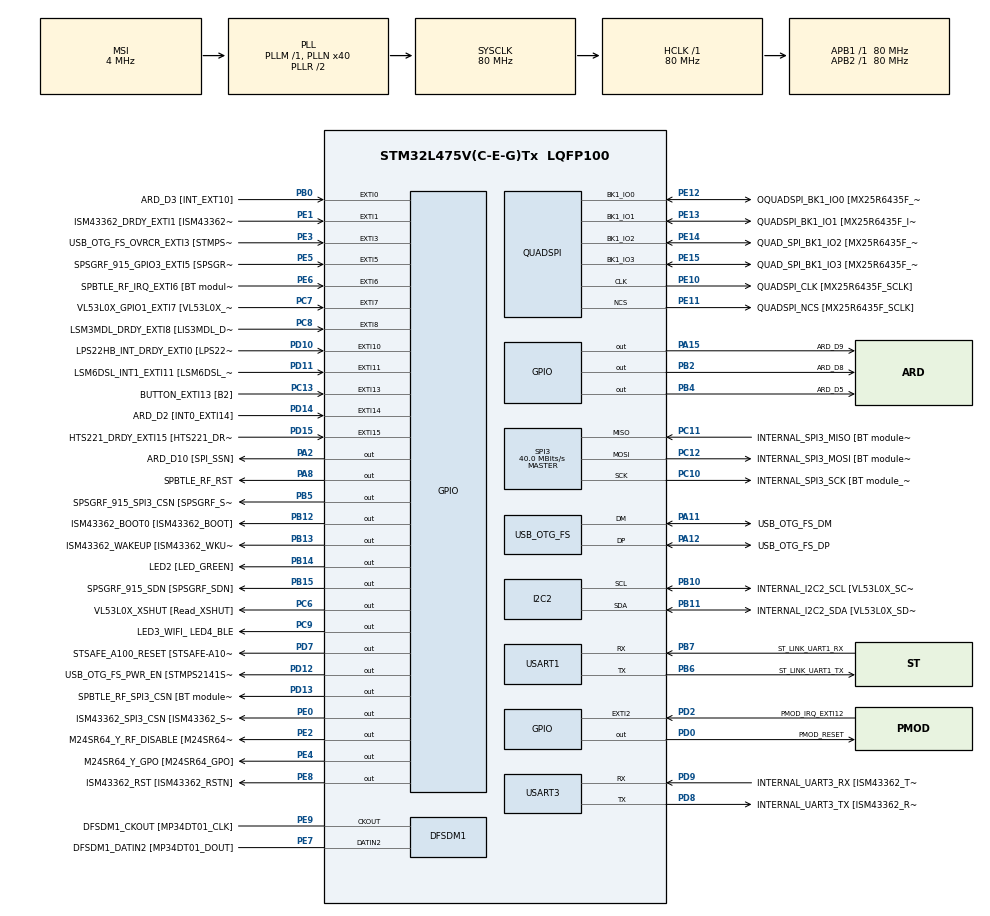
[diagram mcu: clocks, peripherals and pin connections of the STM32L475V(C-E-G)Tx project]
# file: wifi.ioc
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FREERTOS.Tasks01=defaultTask,32,256,StartDefaultTask,Default,NULL,Dynamic,NULL,NULL;wifiStart,24,512,wifiStartTask,Default,NULL,Dynamic,NULL,NULL
FREERTOS.configTOTAL_HEAP_SIZE=5000
FREERTOS.configUSE_NEWLIB_REENTRANT=1
I2C2.Timing=0x10909CEC
Mcu.Family=STM32L4
Mcu.Name=STM32L475V(C-E-G)Tx
Mcu.Package=LQFP100
NVIC.EXTI15_10_IRQn=true\:5\:0\:false\:false\:true\:true\:true\:true\:true
NVIC.EXTI1_IRQn=true\:5\:0\:false\:false\:true\:false\:true\:true\:true
NVIC.EXTI9_5_IRQn=true\:5\:0\:false\:false\:true\:true\:true\:true\:true
NVIC.PriorityGroup=NVIC_PRIORITYGROUP_4
NVIC.SPI3_IRQn=true\:5\:0\:false\:false\:false\:false\:true\:true\:true
NVIC.TIM6_DAC_IRQn=true\:15\:0\:false\:false\:true\:false\:false\:true\:true
NVIC.TimeBase=TIM6_DAC_IRQn
NVIC.TimeBaseIP=TIM6
PA0.GPIO_Label=ARD_D1 [UART4_TX]
PA0.Signal=UART4_TX
PA1.GPIO_Label=ARD_D0 [UART4_RX]
PA1.Signal=UART4_RX
PA10.GPIO_Label=USB_OTG_FS_ID
PA10.Signal=USB_OTG_FS_ID
PA11.GPIO_Label=USB_OTG_FS_DM
PA11.Mode=Device_Only
PA11.Signal=USB_OTG_FS_DM
PA12.GPIO_Label=USB_OTG_FS_DP
PA12.Mode=Device_Only
PA12.Signal=USB_OTG_FS_DP
PA13\ (JTMS-SWDIO).GPIO_Label=SYS_JTMS_SWDIO
PA13\ (JTMS-SWDIO).Mode=Trace_Asynchronous_SW
PA13\ (JTMS-SWDIO).Signal=SYS_JTMS-SWDIO
PA14\ (JTCK-SWCLK).GPIO_Label=SYS_JTCK_SWCLK
PA14\ (JTCK-SWCLK).Mode=Trace_Asynchronous_SW
PA14\ (JTCK-SWCLK).Signal=SYS_JTCK-SWCLK
PA15\ (JTDI).GPIO_Label=ARD_D9
PA15\ (JTDI).Signal=GPIO_Output
PA2.GPIO_Label=ARD_D10 [SPI_SSN]
PA2.Signal=GPIO_Output
PA3.GPIO_Label=ARD_D4
PA3.Signal=S_TIM2_CH4
PA4.GPIO_Label=ARD_D7
PA4.Signal=ADCx_IN9
PA5.GPIO_Label=ARD_D13 [SPI1_SCK]
PA5.Signal=SPI1_SCK
PA6.GPIO_Label=ARD_D12 [SPI1_MISO]
PA6.Signal=SPI1_MISO
PA7.GPIO_Label=ARD_D11 [SPI1_MOSI]
PA7.Signal=SPI1_MOSI
PA8.GPIO_Label=SPBTLE_RF_RST
PA8.Signal=GPIO_Output
PA9.GPIO_Label=USB_OTG_FS_VBUS [STMPS2141STR_OUT]
PA9.Signal=USB_OTG_FS_VBUS
PB0.GPIO_Label=ARD_D3 [INT_EXT10]
PB0.Signal=GPXTI0
PB1.GPIO_Label=ARD_D6 [ADC1_IN6]
PB1.Signal=ADCx_IN16
PB10.GPIO_Label=INTERNAL_I2C2_SCL [VL53L0X_SCL]
PB10.GPIO_Pu=GPIO_PULLUP
PB10.Mode=I2C
PB10.Signal=I2C2_SCL
PB11.GPIO_Label=INTERNAL_I2C2_SDA [VL53L0X_SDA]
PB11.GPIO_Pu=GPIO_PULLUP
PB11.Mode=I2C
PB11.Signal=I2C2_SDA
PB12.GPIO_Label=ISM43362_BOOT0 [ISM43362_BOOT]
PB12.Signal=GPIO_Output
PB13.GPIO_Label=ISM43362_WAKEUP [ISM43362_WKUP]
PB13.Signal=GPIO_Output
PB14.GPIO_Label=LED2 [LED_GREEN]
PB14.Signal=GPIO_Output
PB15.GPIO_Label=SPSGRF_915_SDN [SPSGRF_SDN]
PB15.Signal=GPIO_Output
PB2.GPIO_Label=ARD_D8
PB2.Signal=GPIO_Output
PB3\ (JTDO-TRACESWO).GPIO_Label=SYS_JTD0_SWO
PB3\ (JTDO-TRACESWO).Mode=Trace_Asynchronous_SW
PB3\ (JTDO-TRACESWO).Signal=SYS_JTDO-SWO
PB4\ (NJTRST).GPIO_Label=ARD_D5
PB4\ (NJTRST).Signal=GPIO_Output
PB5.GPIO_Label=SPSGRF_915_SPI3_CSN [SPSGRF_SPI_CS]
PB5.PinState=GPIO_PIN_SET
PB5.Signal=GPIO_Output
PB6.GPIO_Label=ST_LINK_UART1_TX
PB6.Mode=Asynchronous
PB6.Signal=USART1_TX
PB7.GPIO_Label=ST_LINK_UART1_RX
PB7.Mode=Asynchronous
PB7.Signal=USART1_RX
PB8.GPIO_Label=ARD_D15 [I2C1_SCL]
PB8.Signal=I2C1_SCL
PB9.GPIO_Label=ARD_D14 [I2C1_SDA]
PB9.Signal=I2C1_SDA
PC0.GPIO_Label=ARD_A5 [ADC]
PC0.Signal=ADCx_IN1
PC1.GPIO_Label=ARD_A4 [ADC]
PC1.Signal=ADCx_IN2
PC10.GPIO_Label=INTERNAL_SPI3_SCK [BT module_SPI_SCLK] [ISM43362_SCK]
PC10.Mode=Full_Duplex_Master
PC10.Signal=SPI3_SCK
PC11.GPIO_Label=INTERNAL_SPI3_MISO [BT module_SPI_MISO] [ISM43362_MISO]
PC11.Mode=Full_Duplex_Master
PC11.Signal=SPI3_MISO
PC12.GPIO_Label=INTERNAL_SPI3_MOSI [BT module_SPI_MOSI] [ISM43362_MOSI]
PC12.Mode=Full_Duplex_Master
PC12.Signal=SPI3_MOSI
PC13.GPIO_Label=BUTTON_EXTI13 [B2]
PC13.GPIO_ModeDefaultEXTI=GPIO_MODE_IT_FALLING
PC13.Signal=GPXTI13
PC14-OSC32_IN\ (PC14).Mode=LSE-External-Oscillator
PC14-OSC32_IN\ (PC14).Signal=RCC_OSC32_IN
PC15-OSC32_OUT\ (PC15).Mode=LSE-External-Oscillator
PC15-OSC32_OUT\ (PC15).Signal=RCC_OSC32_OUT
PC2.GPIO_Label=ARD_A3 [ADC]
PC2.Signal=ADCx_IN3
PC3.GPIO_Label=ARD_A2 [ADC]
PC3.Signal=ADCx_IN4
PC4.GPIO_Label=ARD_A1 [ADC]
PC4.Signal=ADCx_IN13
PC5.GPIO_Label=ARD_A0 [ADC]
PC5.Signal=ADCx_IN14
PC6.GPIO_Label=VL53L0X_XSHUT [Read_XSHUT]
PC6.Signal=GPIO_Output
PC7.GPIO_Label=VL53L0X_GPIO1_EXTI7 [VL53L0X_GPIO1]
PC7.Signal=GPXTI7
PC8.GPIO_Label=LSM3MDL_DRDY_EXTI8 [LIS3MDL_DRDY]
PC8.Signal=GPXTI8
PC9.GPIO_Label=LED3_WIFI_ LED4_BLE
PC9.Signal=GPIO_Output
PD0.GPIO_Label=PMOD_RESET
PD0.Signal=GPIO_Output
PD1.GPIO_Label=PMOD_SPI2_SCK
PD1.Signal=SPI2_SCK
PD10.GPIO_Label=LPS22HB_INT_DRDY_EXTI0 [LPS22HB_INT_DRDY] 
PD10.Signal=GPXTI10
PD11.GPIO_Label=LSM6DSL_INT1_EXTI11 [LSM6DSL_INT1]
PD11.Signal=GPXTI11
PD12.GPIO_Label=USB_OTG_FS_PWR_EN [STMPS2141STR_EN]
PD12.Signal=GPIO_Output
PD13.GPIO_Label=SPBTLE_RF_SPI3_CSN [BT module_SPI_CS]
PD13.PinState=GPIO_PIN_SET
PD13.Signal=GPIO_Output
PD14.GPIO_Label=ARD_D2 [INT0_EXTI14]
PD14.Signal=GPXTI14
PD15.GPIO_Label=HTS221_DRDY_EXTI15 [HTS221_DRDY]
PD15.Signal=GPXTI15
PD2.GPIO_Label=PMOD_IRQ_EXTI12
PD2.Signal=GPXTI2
PD3.GPIO_Label=PMOD_UART2_CTS
PD3.Signal=USART2_CTS
PD4.GPIO_Label=PMOD_UART2_RTS
PD4.Signal=USART2_RTS
PD5.GPIO_Label=PMOD_UART2_TX
PD5.Signal=USART2_TX
PD6.GPIO_Label=PMOD_UART2_RX
PD6.Signal=USART2_RX
PD7.GPIO_Label=STSAFE_A100_RESET [STSAFE-A100_RESET]
PD7.Signal=GPIO_Output
PD8.GPIO_Label=INTERNAL_UART3_TX [ISM43362_RX]
PD8.Mode=Asynchronous
PD8.Signal=USART3_TX
PD9.GPIO_Label=INTERNAL_UART3_RX [ISM43362_TX]
PD9.Mode=Asynchronous
PD9.Signal=USART3_RX
PE0.GPIO_Label=ISM43362_SPI3_CSN [ISM43362_SSN]
PE0.PinState=GPIO_PIN_SET
PE0.Signal=GPIO_Output
PE1.GPIO_Label=ISM43362_DRDY_EXTI1 [ISM43362_DATARDY]
PE1.Signal=GPXTI1
PE10.GPIO_Label=QUADSPI_CLK [MX25R6435F_SCLK]
PE10.Mode=Single Bank
PE10.Signal=QUADSPI_CLK
PE11.GPIO_Label=QUADSPI_NCS [MX25R6435F_SCLK]
PE11.Mode=Single Bank
PE11.Signal=QUADSPI_NCS
PE12.GPIO_Label=OQUADSPI_BK1_IO0 [MX25R6435F_IO0]
PE12.Mode=Single Bank
PE12.Signal=QUADSPI_BK1_IO0
PE13.GPIO_Label=QUADSPI_BK1_IO1 [MX25R6435F_IO1]
PE13.Mode=Single Bank
PE13.Signal=QUADSPI_BK1_IO1
PE14.GPIO_Label=QUAD_SPI_BK1_IO2 [MX25R6435F_IO2]
PE14.Mode=Single Bank
PE14.Signal=QUADSPI_BK1_IO2
PE15.GPIO_Label=QUAD_SPI_BK1_IO3 [MX25R6435F_IO3]
PE15.Mode=Single Bank
PE15.Signal=QUADSPI_BK1_IO3
PE2.GPIO_Label=M24SR64_Y_RF_DISABLE [M24SR64_RFDIS]
PE2.Signal=GPIO_Output
PE3.GPIO_Label=USB_OTG_FS_OVRCR_EXTI3 [STMPS2141STR_FAULT]
PE3.Signal=GPXTI3
PE4.GPIO_Label=M24SR64_Y_GPO [M24SR64_GPO]
PE4.Signal=GPIO_Output
PE5.GPIO_Label=SPSGRF_915_GPIO3_EXTI5 [SPSGRF_GPIO_3]
PE5.Signal=GPXTI5
PE6.GPIO_Label=SPBTLE_RF_IRQ_EXTI6 [BT module_SPI_IRQ]
PE6.Signal=GPXTI6
PE7.GPIO_Label=DFSDM1_DATIN2 [MP34DT01_DOUT]
PE7.Signal=S_DATAIN2DFSDM1
PE8.GPIO_Label=ISM43362_RST [ISM43362_RSTN]
PE8.Signal=GPIO_Output
PE9.GPIO_Label=DFSDM1_CKOUT [MP34DT01_CLK]
PE9.Signal=S_CKOUTDFSDM1
ProjectManager.HeapSize=0x200
ProjectManager.StackSize=0x400
ProjectManager.TargetToolchain=STM32CubeIDE
QUADSPI.ClockPrescaler=2
QUADSPI.FifoThreshold=4
QUADSPI.FlashSize=23
QUADSPI.SampleShifting=QSPI_SAMPLE_SHIFTING_HALFCYCLE
RCC.ADCFreq_Value=48000000
RCC.AHBFreq_Value=80000000
RCC.APB1Freq_Value=80000000
RCC.APB1TimFreq_Value=80000000
RCC.APB2Freq_Value=80000000
RCC.APB2TimFreq_Value=80000000
RCC.CortexFreq_Value=80000000
RCC.HCLKFreq_Value=80000000
RCC.HSE_VALUE=8000000
RCC.HSI_VALUE=16000000
RCC.MSI_VALUE=4000000
RCC.PLLN=40
RCC.PLLSAI1N=24
RCC.SYSCLKFreq_VALUE=80000000
RCC.SYSCLKSource=RCC_SYSCLKSOURCE_PLLCLK
RCC.USBFreq_Value=48000000
RCC.VCOOutputFreq_Value=160000000
SH.ADCx_IN1.0=ADC1_IN1
SH.ADCx_IN13.0=ADC1_IN13
SH.ADCx_IN14.0=ADC1_IN14
SH.ADCx_IN16.0=ADC1_IN16
SH.ADCx_IN2.0=ADC1_IN2
SH.ADCx_IN3.0=ADC1_IN3
SH.ADCx_IN4.0=ADC1_IN4
SH.ADCx_IN9.0=ADC1_IN9
SH.S_CKOUTDFSDM1.0=DFSDM1_CKOUT,CKOUT
SH.S_CKOUTDFSDM1.1=DFSDM1_CKOUT,PDM_SPI_Input_from_ch12_and_Internal_Clock
SH.S_DATAIN2DFSDM1.0=DFSDM1_DATIN2,PDM_SPI_Input_from_ch12_and_Internal_Clock
SH.S_TIM2_CH4.0=TIM2_CH4
SPI3.CalculateBaudRate=40.0 MBits/s
SPI3.Direction=SPI_DIRECTION_2LINES
SPI3.Mode=SPI_MODE_MASTER
SPI3.VirtualType=VM_MASTER
USART1.VirtualMode-Asynchronous=VM_ASYNC
USART3.VirtualMode-Asynchronous=VM_ASYNC
USB_OTG_FS.VirtualMode=Device_Only
VP_FREERTOS_VS_CMSIS_V2.Mode=CMSIS_V2
VP_SYS_VS_tim6.Mode=TIM6
board=B-L475E-IOT01A2

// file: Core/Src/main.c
/* USER CODE BEGIN Header */
/**
  ******************************************************************************
  * @file           : main.c
  * @brief          : Main program body
  ******************************************************************************
  * @attention
  *
  * Copyright (c) 2023 STMicroelectronics.
  * All rights reserved.
  *
  * This software is licensed under terms that can be found in the LICENSE file
  * in the root directory of this software component.
  * If no LICENSE file comes with this software, it is provided AS-IS.
  *
  ******************************************************************************
  */
/* USER CODE END Header */
#include "main.h"
#include "cmsis_os.h"

/* USER CODE BEGIN Includes */
#include <stdio.h>
#include <math.h>

#include "es_wifi.h"
#include "wifi.h"
#include "stm32l4xx_hal_uart.h"
//#include "stm32l475e_iot01.h"
//#include "stm32l475e_iot01_tsensor.h"
/* USER CODE END Includes */

/* USER CODE BEGIN PM */
/* Update SSID and PASSWORD with own Access point settings */
#define SSID     "Antonio"
#define PASSWORD "Antonio_psswrd"
//#define WIFISECURITY WIFI_ECN_OPEN
#define WIFISECURITY WIFI_ECN_WPA2_PSK

#define SOCKET 0
#define WIFI_READ_TIMEOUT 20000
#define WIFI_WRITE_TIMEOUT 0

#ifdef  TERMINAL_USE
#define LOG(a) printf a
#else
#define LOG(a)
#endif

/* USER CODE END PM */

DFSDM_Channel_HandleTypeDef hdfsdm1_channel1;

I2C_HandleTypeDef hi2c2;

QSPI_HandleTypeDef hqspi;

SPI_HandleTypeDef hspi3;

UART_HandleTypeDef huart1;
UART_HandleTypeDef huart3;

PCD_HandleTypeDef hpcd_USB_OTG_FS;

/* Definitions for defaultTask */
osThreadId_t defaultTaskHandle;
const osThreadAttr_t defaultTask_attributes = {
  .name = "defaultTask",
  .stack_size = 256 * 4,
  .priority = (osPriority_t) osPriorityAboveNormal,
};
/* Definitions for wifiStart */
osThreadId_t wifiStartHandle;
const osThreadAttr_t wifiStart_attributes = {
  .name = "wifiStart",
  .stack_size = 512 * 4,
  .priority = (osPriority_t) osPriorityNormal,
};
/* USER CODE BEGIN PV */
extern  SPI_HandleTypeDef hspi;
static  uint8_t  IP_Addr[4];
#if defined (TERMINAL_USE)
extern UART_HandleTypeDef hDiscoUart;
#endif /* TERMINAL_USE */
/* USER CODE END PV */

void SystemClock_Config(void);
static void MX_GPIO_Init(void);
static void MX_DFSDM1_Init(void);
static void MX_I2C2_Init(void);
static void MX_QUADSPI_Init(void);
static void MX_SPI3_Init(void);
static void MX_USART1_UART_Init(void);
static void MX_USART3_UART_Init(void);
static void MX_USB_OTG_FS_PCD_Init(void);
void StartDefaultTask(void *argument);
void wifiStartTask(void *argument);

/* USER CODE BEGIN PFP */
#if defined (TERMINAL_USE)
#ifdef __GNUC__
/* With GCC, small printf (option LD Linker->Libraries->Small printf
   set to 'Yes') calls __io_putchar() */
#define PUTCHAR_PROTOTYPE int __io_putchar(int ch)
#else
#define PUTCHAR_PROTOTYPE int fputc(int ch, FILE *f)
#endif /* __GNUC__ */
#endif /* TERMINAL_USE */
/* USER CODE END PFP */

int main(void)
{

  /* MCU Configuration--------------------------------------------------------*/

  /* Reset of all peripherals, Initializes the Flash interface and the Systick. */
  HAL_Init();

  /* Configure the system clock */
  SystemClock_Config();

  /* Initialize all configured peripherals */
  MX_GPIO_Init();
  MX_DFSDM1_Init();
  MX_I2C2_Init();
  MX_QUADSPI_Init();
  MX_SPI3_Init();
  MX_USART1_UART_Init();
  MX_USART3_UART_Init();
  MX_USB_OTG_FS_PCD_Init();
  /* USER CODE BEGIN 2 */
	#if defined (TERMINAL_USE)
  	  /* Initialize all configured peripherals */
  	  hDiscoUart.Instance = DISCOVERY_COM1;
  	  hDiscoUart.Init.BaudRate = 115200;
  	  hDiscoUart.Init.WordLength = UART_WORDLENGTH_8B;
  	  hDiscoUart.Init.StopBits = UART_STOPBITS_1;
	  hDiscoUart.Init.Parity = UART_PARITY_NONE;
	  hDiscoUart.Init.Mode = UART_MODE_TX_RX;
	  hDiscoUart.Init.HwFlowCtl = UART_HWCONTROL_NONE;
	  hDiscoUart.Init.OverSampling = UART_OVERSAMPLING_16;
	  hDiscoUart.Init.OneBitSampling = UART_ONE_BIT_SAMPLE_DISABLE;
	  hDiscoUart.AdvancedInit.AdvFeatureInit = UART_ADVFEATURE_NO_INIT;

	  BSP_COM_Init(COM1, &hDiscoUart);

	#endif /* TERMINAL_USE */

	//BSP_TSENSOR_Init();

	printf("****** Sistemas Ciberfisicos ****** \n\n");

  /* USER CODE END 2 */

  /* Init scheduler */
  osKernelInitialize();

  /* Create the thread(s) */
  /* creation of defaultTask */
  defaultTaskHandle = osThreadNew(StartDefaultTask, NULL, &defaultTask_attributes);

  /* creation of wifiStart */
  wifiStartHandle = osThreadNew(wifiStartTask, NULL, &wifiStart_attributes);

  /* Start scheduler */
  osKernelStart();

  /* We should never get here as control is now taken by the scheduler */
  /* Infinite loop */
  while (1)
  {

  }
}

void SystemClock_Config(void)
{
  RCC_OscInitTypeDef RCC_OscInitStruct = {0};
  RCC_ClkInitTypeDef RCC_ClkInitStruct = {0};

  /** Configure the main internal regulator output voltage
  */
  if (HAL_PWREx_ControlVoltageScaling(PWR_REGULATOR_VOLTAGE_SCALE1) != HAL_OK)
  {
    Error_Handler();
  }

  /** Configure LSE Drive Capability
  */
  HAL_PWR_EnableBkUpAccess();
  __HAL_RCC_LSEDRIVE_CONFIG(RCC_LSEDRIVE_LOW);

  /** Initializes the RCC Oscillators according to the specified parameters
  * in the RCC_OscInitTypeDef structure.
  */
  RCC_OscInitStruct.OscillatorType = RCC_OSCILLATORTYPE_LSE|RCC_OSCILLATORTYPE_MSI;
  RCC_OscInitStruct.LSEState = RCC_LSE_ON;
  RCC_OscInitStruct.MSIState = RCC_MSI_ON;
  RCC_OscInitStruct.MSICalibrationValue = 0;
  RCC_OscInitStruct.MSIClockRange = RCC_MSIRANGE_6;
  RCC_OscInitStruct.PLL.PLLState = RCC_PLL_ON;
  RCC_OscInitStruct.PLL.PLLSource = RCC_PLLSOURCE_MSI;
  RCC_OscInitStruct.PLL.PLLM = 1;
  RCC_OscInitStruct.PLL.PLLN = 40;
  RCC_OscInitStruct.PLL.PLLP = RCC_PLLP_DIV7;
  RCC_OscInitStruct.PLL.PLLQ = RCC_PLLQ_DIV2;
  RCC_OscInitStruct.PLL.PLLR = RCC_PLLR_DIV2;
  if (HAL_RCC_OscConfig(&RCC_OscInitStruct) != HAL_OK)
  {
    Error_Handler();
  }

  /** Initializes the CPU, AHB and APB buses clocks
  */
  RCC_ClkInitStruct.ClockType = RCC_CLOCKTYPE_HCLK|RCC_CLOCKTYPE_SYSCLK
                              |RCC_CLOCKTYPE_PCLK1|RCC_CLOCKTYPE_PCLK2;
  RCC_ClkInitStruct.SYSCLKSource = RCC_SYSCLKSOURCE_PLLCLK;
  RCC_ClkInitStruct.AHBCLKDivider = RCC_SYSCLK_DIV1;
  RCC_ClkInitStruct.APB1CLKDivider = RCC_HCLK_DIV1;
  RCC_ClkInitStruct.APB2CLKDivider = RCC_HCLK_DIV1;

  if (HAL_RCC_ClockConfig(&RCC_ClkInitStruct, FLASH_LATENCY_4) != HAL_OK)
  {
    Error_Handler();
  }

  /** Enable MSI Auto calibration
  */
  HAL_RCCEx_EnableMSIPLLMode();
}

static void MX_DFSDM1_Init(void)
{

  hdfsdm1_channel1.Instance = DFSDM1_Channel1;
  hdfsdm1_channel1.Init.OutputClock.Activation = ENABLE;
  hdfsdm1_channel1.Init.OutputClock.Selection = DFSDM_CHANNEL_OUTPUT_CLOCK_SYSTEM;
  hdfsdm1_channel1.Init.OutputClock.Divider = 2;
  hdfsdm1_channel1.Init.Input.Multiplexer = DFSDM_CHANNEL_EXTERNAL_INPUTS;
  hdfsdm1_channel1.Init.Input.DataPacking = DFSDM_CHANNEL_STANDARD_MODE;
  hdfsdm1_channel1.Init.Input.Pins = DFSDM_CHANNEL_FOLLOWING_CHANNEL_PINS;
  hdfsdm1_channel1.Init.SerialInterface.Type = DFSDM_CHANNEL_SPI_RISING;
  hdfsdm1_channel1.Init.SerialInterface.SpiClock = DFSDM_CHANNEL_SPI_CLOCK_INTERNAL;
  hdfsdm1_channel1.Init.Awd.FilterOrder = DFSDM_CHANNEL_FASTSINC_ORDER;
  hdfsdm1_channel1.Init.Awd.Oversampling = 1;
  hdfsdm1_channel1.Init.Offset = 0;
  hdfsdm1_channel1.Init.RightBitShift = 0x00;
  if (HAL_DFSDM_ChannelInit(&hdfsdm1_channel1) != HAL_OK)
  {
    Error_Handler();
  }

}

static void MX_I2C2_Init(void)
{

  hi2c2.Instance = I2C2;
  hi2c2.Init.Timing = 0x00000E14;
  hi2c2.Init.OwnAddress1 = 0;
  hi2c2.Init.AddressingMode = I2C_ADDRESSINGMODE_7BIT;
  hi2c2.Init.DualAddressMode = I2C_DUALADDRESS_DISABLE;
  hi2c2.Init.OwnAddress2 = 0;
  hi2c2.Init.OwnAddress2Masks = I2C_OA2_NOMASK;
  hi2c2.Init.GeneralCallMode = I2C_GENERALCALL_DISABLE;
  hi2c2.Init.NoStretchMode = I2C_NOSTRETCH_DISABLE;
  if (HAL_I2C_Init(&hi2c2) != HAL_OK)
  {
    Error_Handler();
  }

  /** Configure Analogue filter
  */
  if (HAL_I2CEx_ConfigAnalogFilter(&hi2c2, I2C_ANALOGFILTER_ENABLE) != HAL_OK)
  {
    Error_Handler();
  }

  /** Configure Digital filter
  */
  if (HAL_I2CEx_ConfigDigitalFilter(&hi2c2, 0) != HAL_OK)
  {
    Error_Handler();
  }

}

static void MX_QUADSPI_Init(void)
{

  /* QUADSPI parameter configuration*/
  hqspi.Instance = QUADSPI;
  hqspi.Init.ClockPrescaler = 2;
  hqspi.Init.FifoThreshold = 4;
  hqspi.Init.SampleShifting = QSPI_SAMPLE_SHIFTING_HALFCYCLE;
  hqspi.Init.FlashSize = 23;
  hqspi.Init.ChipSelectHighTime = QSPI_CS_HIGH_TIME_1_CYCLE;
  hqspi.Init.ClockMode = QSPI_CLOCK_MODE_0;
  if (HAL_QSPI_Init(&hqspi) != HAL_OK)
  {
    Error_Handler();
  }

}

static void MX_SPI3_Init(void)
{

  /* SPI3 parameter configuration*/
  hspi3.Instance = SPI3;
  hspi3.Init.Mode = SPI_MODE_MASTER;
  hspi3.Init.Direction = SPI_DIRECTION_2LINES;
  hspi3.Init.DataSize = SPI_DATASIZE_4BIT;
  hspi3.Init.CLKPolarity = SPI_POLARITY_LOW;
  hspi3.Init.CLKPhase = SPI_PHASE_1EDGE;
  hspi3.Init.NSS = SPI_NSS_SOFT;
  hspi3.Init.BaudRatePrescaler = SPI_BAUDRATEPRESCALER_2;
  hspi3.Init.FirstBit = SPI_FIRSTBIT_MSB;
  hspi3.Init.TIMode = SPI_TIMODE_DISABLE;
  hspi3.Init.CRCCalculation = SPI_CRCCALCULATION_DISABLE;
  hspi3.Init.CRCPolynomial = 7;
  hspi3.Init.CRCLength = SPI_CRC_LENGTH_DATASIZE;
  hspi3.Init.NSSPMode = SPI_NSS_PULSE_ENABLE;
  if (HAL_SPI_Init(&hspi3) != HAL_OK)
  {
    Error_Handler();
  }

}

static void MX_USART1_UART_Init(void)
{

  huart1.Instance = USART1;
  huart1.Init.BaudRate = 115200;
  huart1.Init.WordLength = UART_WORDLENGTH_8B;
  huart1.Init.StopBits = UART_STOPBITS_1;
  huart1.Init.Parity = UART_PARITY_NONE;
  huart1.Init.Mode = UART_MODE_TX_RX;
  huart1.Init.HwFlowCtl = UART_HWCONTROL_NONE;
  huart1.Init.OverSampling = UART_OVERSAMPLING_16;
  huart1.Init.OneBitSampling = UART_ONE_BIT_SAMPLE_DISABLE;
  huart1.AdvancedInit.AdvFeatureInit = UART_ADVFEATURE_NO_INIT;
  if (HAL_UART_Init(&huart1) != HAL_OK)
  {
    Error_Handler();
  }

}

static void MX_USART3_UART_Init(void)
{

  huart3.Instance = USART3;
  huart3.Init.BaudRate = 115200;
  huart3.Init.WordLength = UART_WORDLENGTH_8B;
  huart3.Init.StopBits = UART_STOPBITS_1;
  huart3.Init.Parity = UART_PARITY_NONE;
  huart3.Init.Mode = UART_MODE_TX_RX;
  huart3.Init.HwFlowCtl = UART_HWCONTROL_NONE;
  huart3.Init.OverSampling = UART_OVERSAMPLING_16;
  huart3.Init.OneBitSampling = UART_ONE_BIT_SAMPLE_DISABLE;
  huart3.AdvancedInit.AdvFeatureInit = UART_ADVFEATURE_NO_INIT;
  if (HAL_UART_Init(&huart3) != HAL_OK)
  {
    Error_Handler();
  }

}

static void MX_USB_OTG_FS_PCD_Init(void)
{

  hpcd_USB_OTG_FS.Instance = USB_OTG_FS;
  hpcd_USB_OTG_FS.Init.dev_endpoints = 6;
  hpcd_USB_OTG_FS.Init.speed = PCD_SPEED_FULL;
  hpcd_USB_OTG_FS.Init.phy_itface = PCD_PHY_EMBEDDED;
  hpcd_USB_OTG_FS.Init.Sof_enable = DISABLE;
  hpcd_USB_OTG_FS.Init.low_power_enable = DISABLE;
  hpcd_USB_OTG_FS.Init.lpm_enable = DISABLE;
  hpcd_USB_OTG_FS.Init.battery_charging_enable = DISABLE;
  hpcd_USB_OTG_FS.Init.use_dedicated_ep1 = DISABLE;
  hpcd_USB_OTG_FS.Init.vbus_sensing_enable = DISABLE;
  if (HAL_PCD_Init(&hpcd_USB_OTG_FS) != HAL_OK)
  {
    Error_Handler();
  }

}

static void MX_GPIO_Init(void)
{
  GPIO_InitTypeDef GPIO_InitStruct = {0};

  /* GPIO Ports Clock Enable */
  __HAL_RCC_GPIOE_CLK_ENABLE();
  __HAL_RCC_GPIOC_CLK_ENABLE();
  __HAL_RCC_GPIOA_CLK_ENABLE();
  __HAL_RCC_GPIOB_CLK_ENABLE();
  __HAL_RCC_GPIOD_CLK_ENABLE();

  /*Configure GPIO pin Output Level */
  HAL_GPIO_WritePin(GPIOE, M24SR64_Y_RF_DISABLE_Pin|M24SR64_Y_GPO_Pin|ISM43362_RST_Pin, GPIO_PIN_RESET);

  /*Configure GPIO pin Output Level */
  HAL_GPIO_WritePin(GPIOA, ARD_D10_Pin|SPBTLE_RF_RST_Pin|ARD_D9_Pin, GPIO_PIN_RESET);

  /*Configure GPIO pin Output Level */
  HAL_GPIO_WritePin(GPIOB, ARD_D8_Pin|ISM43362_BOOT0_Pin|ISM43362_WAKEUP_Pin|LED2_Pin
                          |SPSGRF_915_SDN_Pin|ARD_D5_Pin, GPIO_PIN_RESET);

  /*Configure GPIO pin Output Level */
  HAL_GPIO_WritePin(GPIOD, USB_OTG_FS_PWR_EN_Pin|PMOD_RESET_Pin|STSAFE_A100_RESET_Pin, GPIO_PIN_RESET);

  /*Configure GPIO pin Output Level */
  HAL_GPIO_WritePin(SPBTLE_RF_SPI3_CSN_GPIO_Port, SPBTLE_RF_SPI3_CSN_Pin, GPIO_PIN_SET);

  /*Configure GPIO pin Output Level */
  HAL_GPIO_WritePin(GPIOC, VL53L0X_XSHUT_Pin|LED3_WIFI__LED4_BLE_Pin, GPIO_PIN_RESET);

  /*Configure GPIO pin Output Level */
  HAL_GPIO_WritePin(SPSGRF_915_SPI3_CSN_GPIO_Port, SPSGRF_915_SPI3_CSN_Pin, GPIO_PIN_SET);

  /*Configure GPIO pin Output Level */
  HAL_GPIO_WritePin(ISM43362_SPI3_CSN_GPIO_Port, ISM43362_SPI3_CSN_Pin, GPIO_PIN_SET);

  /*Configure GPIO pins : M24SR64_Y_RF_DISABLE_Pin M24SR64_Y_GPO_Pin ISM43362_RST_Pin ISM43362_SPI3_CSN_Pin */
  GPIO_InitStruct.Pin = M24SR64_Y_RF_DISABLE_Pin|M24SR64_Y_GPO_Pin|ISM43362_RST_Pin|ISM43362_SPI3_CSN_Pin;
  GPIO_InitStruct.Mode = GPIO_MODE_OUTPUT_PP;
  GPIO_InitStruct.Pull = GPIO_NOPULL;
  GPIO_InitStruct.Speed = GPIO_SPEED_FREQ_LOW;
  HAL_GPIO_Init(GPIOE, &GPIO_InitStruct);

  /*Configure GPIO pins : USB_OTG_FS_OVRCR_EXTI3_Pin SPSGRF_915_GPIO3_EXTI5_Pin SPBTLE_RF_IRQ_EXTI6_Pin ISM43362_DRDY_EXTI1_Pin */
  GPIO_InitStruct.Pin = USB_OTG_FS_OVRCR_EXTI3_Pin|SPSGRF_915_GPIO3_EXTI5_Pin|SPBTLE_RF_IRQ_EXTI6_Pin|ISM43362_DRDY_EXTI1_Pin;
  GPIO_InitStruct.Mode = GPIO_MODE_IT_RISING;
  GPIO_InitStruct.Pull = GPIO_NOPULL;
  HAL_GPIO_Init(GPIOE, &GPIO_InitStruct);

  /*Configure GPIO pin : BUTTON_EXTI13_Pin */
  GPIO_InitStruct.Pin = BUTTON_EXTI13_Pin;
  GPIO_InitStruct.Mode = GPIO_MODE_IT_FALLING;
  GPIO_InitStruct.Pull = GPIO_NOPULL;
  HAL_GPIO_Init(BUTTON_EXTI13_GPIO_Port, &GPIO_InitStruct);

  /*Configure GPIO pins : ARD_A5_Pin ARD_A4_Pin ARD_A3_Pin ARD_A2_Pin
                           ARD_A1_Pin ARD_A0_Pin */
  GPIO_InitStruct.Pin = ARD_A5_Pin|ARD_A4_Pin|ARD_A3_Pin|ARD_A2_Pin
                          |ARD_A1_Pin|ARD_A0_Pin;
  GPIO_InitStruct.Mode = GPIO_MODE_ANALOG_ADC_CONTROL;
  GPIO_InitStruct.Pull = GPIO_NOPULL;
  HAL_GPIO_Init(GPIOC, &GPIO_InitStruct);

  /*Configure GPIO pins : ARD_D1_Pin ARD_D0_Pin */
  GPIO_InitStruct.Pin = ARD_D1_Pin|ARD_D0_Pin;
  GPIO_InitStruct.Mode = GPIO_MODE_AF_PP;
  GPIO_InitStruct.Pull = GPIO_NOPULL;
  GPIO_InitStruct.Speed = GPIO_SPEED_FREQ_VERY_HIGH;
  GPIO_InitStruct.Alternate = GPIO_AF8_UART4;
  HAL_GPIO_Init(GPIOA, &GPIO_InitStruct);

  /*Configure GPIO pins : ARD_D10_Pin SPBTLE_RF_RST_Pin ARD_D9_Pin */
  GPIO_InitStruct.Pin = ARD_D10_Pin|SPBTLE_RF_RST_Pin|ARD_D9_Pin;
  GPIO_InitStruct.Mode = GPIO_MODE_OUTPUT_PP;
  GPIO_InitStruct.Pull = GPIO_NOPULL;
  GPIO_InitStruct.Speed = GPIO_SPEED_FREQ_LOW;
  HAL_GPIO_Init(GPIOA, &GPIO_InitStruct);

  /*Configure GPIO pin : ARD_D4_Pin */
  GPIO_InitStruct.Pin = ARD_D4_Pin;
  GPIO_InitStruct.Mode = GPIO_MODE_AF_PP;
  GPIO_InitStruct.Pull = GPIO_NOPULL;
  GPIO_InitStruct.Speed = GPIO_SPEED_FREQ_LOW;
  GPIO_InitStruct.Alternate = GPIO_AF1_TIM2;
  HAL_GPIO_Init(ARD_D4_GPIO_Port, &GPIO_InitStruct);

  /*Configure GPIO pin : ARD_D7_Pin */
  GPIO_InitStruct.Pin = ARD_D7_Pin;
  GPIO_InitStruct.Mode = GPIO_MODE_ANALOG_ADC_CONTROL;
  GPIO_InitStruct.Pull = GPIO_NOPULL;
  HAL_GPIO_Init(ARD_D7_GPIO_Port, &GPIO_InitStruct);

  /*Configure GPIO pins : ARD_D13_Pin ARD_D12_Pin ARD_D11_Pin */
  GPIO_InitStruct.Pin = ARD_D13_Pin|ARD_D12_Pin|ARD_D11_Pin;
  GPIO_InitStruct.Mode = GPIO_MODE_AF_PP;
  GPIO_InitStruct.Pull = GPIO_NOPULL;
  GPIO_InitStruct.Speed = GPIO_SPEED_FREQ_VERY_HIGH;
  GPIO_InitStruct.Alternate = GPIO_AF5_SPI1;
  HAL_GPIO_Init(GPIOA, &GPIO_InitStruct);

  /*Configure GPIO pin : ARD_D3_Pin */
  GPIO_InitStruct.Pin = ARD_D3_Pin;
  GPIO_InitStruct.Mode = GPIO_MODE_IT_RISING;
  GPIO_InitStruct.Pull = GPIO_NOPULL;
  HAL_GPIO_Init(ARD_D3_GPIO_Port, &GPIO_InitStruct);

  /*Configure GPIO pin : ARD_D6_Pin */
  GPIO_InitStruct.Pin = ARD_D6_Pin;
  GPIO_InitStruct.Mode = GPIO_MODE_ANALOG_ADC_CONTROL;
  GPIO_InitStruct.Pull = GPIO_NOPULL;
  HAL_GPIO_Init(ARD_D6_GPIO_Port, &GPIO_InitStruct);

  /*Configure GPIO pins : ARD_D8_Pin ISM43362_BOOT0_Pin ISM43362_WAKEUP_Pin LED2_Pin
                           SPSGRF_915_SDN_Pin ARD_D5_Pin SPSGRF_915_SPI3_CSN_Pin */
  GPIO_InitStruct.Pin = ARD_D8_Pin|ISM43362_BOOT0_Pin|ISM43362_WAKEUP_Pin|LED2_Pin
                          |SPSGRF_915_SDN_Pin|ARD_D5_Pin|SPSGRF_915_SPI3_CSN_Pin;
  GPIO_InitStruct.Mode = GPIO_MODE_OUTPUT_PP;
  GPIO_InitStruct.Pull = GPIO_NOPULL;
  GPIO_InitStruct.Speed = GPIO_SPEED_FREQ_LOW;
  HAL_GPIO_Init(GPIOB, &GPIO_InitStruct);

  /*Configure GPIO pins : LPS22HB_INT_DRDY_EXTI0_Pin LSM6DSL_INT1_EXTI11_Pin ARD_D2_Pin HTS221_DRDY_EXTI15_Pin
                           PMOD_IRQ_EXTI12_Pin */
  GPIO_InitStruct.Pin = LPS22HB_INT_DRDY_EXTI0_Pin|LSM6DSL_INT1_EXTI11_Pin|ARD_D2_Pin|HTS221_DRDY_EXTI15_Pin
                          |PMOD_IRQ_EXTI12_Pin;
  GPIO_InitStruct.Mode = GPIO_MODE_IT_RISING;
  GPIO_InitStruct.Pull = GPIO_NOPULL;
  HAL_GPIO_Init(GPIOD, &GPIO_InitStruct);

  /*Configure GPIO pins : USB_OTG_FS_PWR_EN_Pin SPBTLE_RF_SPI3_CSN_Pin PMOD_RESET_Pin STSAFE_A100_RESET_Pin */
  GPIO_InitStruct.Pin = USB_OTG_FS_PWR_EN_Pin|SPBTLE_RF_SPI3_CSN_Pin|PMOD_RESET_Pin|STSAFE_A100_RESET_Pin;
  GPIO_InitStruct.Mode = GPIO_MODE_OUTPUT_PP;
  GPIO_InitStruct.Pull = GPIO_NOPULL;
  GPIO_InitStruct.Speed = GPIO_SPEED_FREQ_LOW;
  HAL_GPIO_Init(GPIOD, &GPIO_InitStruct);

  /*Configure GPIO pins : VL53L0X_XSHUT_Pin LED3_WIFI__LED4_BLE_Pin */
  GPIO_InitStruct.Pin = VL53L0X_XSHUT_Pin|LED3_WIFI__LED4_BLE_Pin;
  GPIO_InitStruct.Mode = GPIO_MODE_OUTPUT_PP;
  GPIO_InitStruct.Pull = GPIO_NOPULL;
  GPIO_InitStruct.Speed = GPIO_SPEED_FREQ_LOW;
  HAL_GPIO_Init(GPIOC, &GPIO_InitStruct);

  /*Configure GPIO pins : VL53L0X_GPIO1_EXTI7_Pin LSM3MDL_DRDY_EXTI8_Pin */
  GPIO_InitStruct.Pin = VL53L0X_GPIO1_EXTI7_Pin|LSM3MDL_DRDY_EXTI8_Pin;
  GPIO_InitStruct.Mode = GPIO_MODE_IT_RISING;
  GPIO_InitStruct.Pull = GPIO_NOPULL;
  HAL_GPIO_Init(GPIOC, &GPIO_InitStruct);

  /*Configure GPIO pin : PMOD_SPI2_SCK_Pin */
  GPIO_InitStruct.Pin = PMOD_SPI2_SCK_Pin;
  GPIO_InitStruct.Mode = GPIO_MODE_AF_PP;
  GPIO_InitStruct.Pull = GPIO_NOPULL;
  GPIO_InitStruct.Speed = GPIO_SPEED_FREQ_VERY_HIGH;
  GPIO_InitStruct.Alternate = GPIO_AF5_SPI2;
  HAL_GPIO_Init(PMOD_SPI2_SCK_GPIO_Port, &GPIO_InitStruct);

  /*Configure GPIO pins : PMOD_UART2_CTS_Pin PMOD_UART2_RTS_Pin PMOD_UART2_TX_Pin PMOD_UART2_RX_Pin */
  GPIO_InitStruct.Pin = PMOD_UART2_CTS_Pin|PMOD_UART2_RTS_Pin|PMOD_UART2_TX_Pin|PMOD_UART2_RX_Pin;
  GPIO_InitStruct.Mode = GPIO_MODE_AF_PP;
  GPIO_InitStruct.Pull = GPIO_NOPULL;
  GPIO_InitStruct.Speed = GPIO_SPEED_FREQ_VERY_HIGH;
  GPIO_InitStruct.Alternate = GPIO_AF7_USART2;
  HAL_GPIO_Init(GPIOD, &GPIO_InitStruct);

  /*Configure GPIO pins : ARD_D15_Pin ARD_D14_Pin */
  GPIO_InitStruct.Pin = ARD_D15_Pin|ARD_D14_Pin;
  GPIO_InitStruct.Mode = GPIO_MODE_AF_OD;
  GPIO_InitStruct.Pull = GPIO_NOPULL;
  GPIO_InitStruct.Speed = GPIO_SPEED_FREQ_VERY_HIGH;
  GPIO_InitStruct.Alternate = GPIO_AF4_I2C1;
  HAL_GPIO_Init(GPIOB, &GPIO_InitStruct);

  /* EXTI interrupt init*/
  HAL_NVIC_SetPriority(EXTI1_IRQn, 0, 0);
  HAL_NVIC_EnableIRQ(EXTI1_IRQn);

  HAL_NVIC_SetPriority(EXTI9_5_IRQn, 5, 0);
  HAL_NVIC_EnableIRQ(EXTI9_5_IRQn);

  HAL_NVIC_SetPriority(EXTI15_10_IRQn, 5, 0);
  HAL_NVIC_EnableIRQ(EXTI15_10_IRQn);

}

/* USER CODE BEGIN 4 */
int _write(int file, char *ptr, int len)
{
	int DataIdx;
	for(DataIdx=0; DataIdx<len; DataIdx++)
	{
		ITM_SendChar(*ptr++);
	}
	return len;
}

static int wifi_start(void)
{
  uint8_t  MAC_Addr[6];

 /*Initialize and use WIFI module */
  if(WIFI_Init() ==  WIFI_STATUS_OK)
  {
    printf("ES-WIFI Initialized.\n");
    if(WIFI_GetMAC_Address(MAC_Addr) == WIFI_STATUS_OK)
    {
      printf("> eS-WiFi module MAC Address : %02X:%02X:%02X:%02X:%02X:%02X\n",
               MAC_Addr[0],
               MAC_Addr[1],
               MAC_Addr[2],
               MAC_Addr[3],
               MAC_Addr[4],
               MAC_Addr[5]);
    }
    else
    {
      printf("> ERROR : CANNOT get MAC address\n");
      return -1;
    }
  }
  else
  {
    return -1;
  }
  return 0;
}

int wifi_connect(void)
{

  wifi_start();

  printf("\nConnecting to %s , %s\n",SSID,PASSWORD);
  if( WIFI_Connect(SSID, PASSWORD, WIFISECURITY) == WIFI_STATUS_OK)
  {
    if(WIFI_GetIP_Address(IP_Addr) == WIFI_STATUS_OK)
    {
      printf("> es-wifi module connected: got IP Address : %d.%d.%d.%d\n",
               IP_Addr[0],
               IP_Addr[1],
               IP_Addr[2],
               IP_Addr[3]);
    }
    else
    {
		  printf(" ERROR : es-wifi module CANNOT get IP address\n");
      return -1;
    }
  }
  else
  {
		 printf("ERROR : es-wifi module NOT connected\n");
     return -1;
  }
  return 0;
}

#if defined (TERMINAL_USE)
/**
  * @brief  Retargets the C library printf function to the USART.
  * @param  None
  * @retval None
  */
PUTCHAR_PROTOTYPE
{
  /* Place your implementation of fputc here */
  /* e.g. write a character to the USART1 and Loop until the end of transmission */
  HAL_UART_Transmit(&hDiscoUart, (uint8_t *)&ch, 1, 0xFFFF);

  return ch;
}
#endif /* TERMINAL_USE */

/**
  * @brief  EXTI line detection callback.
  * @param  GPIO_Pin: Specifies the port pin connected to corresponding EXTI line.
  * @retval None
  */
void HAL_GPIO_EXTI_Callback(uint16_t GPIO_Pin)
{
  switch (GPIO_Pin)
  {
    case (GPIO_PIN_1):
    {
      SPI_WIFI_ISR();
      break;
    }
    default:
    {
      break;
    }
  }
}

/**
  * @brief  SPI3 line detection callback.
  * @param  None
  * @retval None
  */
void SPI3_IRQHandler(void)
{
  HAL_SPI_IRQHandler(&hspi);
}

int wifi_get_http(void)
{
uint8_t ret;
uint16_t datasent;
//uint8_t HTTP_REQUEST[]="GET /search?country=Spain HTTP/1.1\r\nHost: universities.hipolabs.com\r\n\r\n";
//uint8_t ipaddr[4]={54,236,250,67};
uint8_t HTTP_REQUEST[]="GET /api/v1.0/random?min=1&max=1000&count=1 HTTP/1.1\r\nHost: www.randomnumberapi.com\r\n\r\n";
uint8_t ipaddr[4]={104,21,79,142};
uint8_t recvdata[1024];
uint16_t remotePort=80;
uint16_t recvlen;
uint8_t i;
uint16_t num;
//uint8_t err=0;

if (wifi_connect()!=0) return -1;

while(1){
  ret=WIFI_OpenClientConnection(SOCKET, WIFI_TCP_PROTOCOL, "http", ipaddr, remotePort, 0);

  if(ret!=WIFI_STATUS_OK) {
    printf("Error in opening connection: %d\n",ret);
  } else {
    printf("Connection established.\n");
  }

  ret=WIFI_SendData(SOCKET, (uint8_t *)HTTP_REQUEST, strlen((char *)HTTP_REQUEST), &datasent, WIFI_WRITE_TIMEOUT);
  if(ret!=WIFI_STATUS_OK) {
    printf("Error in sending data: %d\n",ret);
    //err=1;
  } else {
    printf("Data sent\n");
  }

  ret=WIFI_ReceiveData(SOCKET, recvdata, 1000, &recvlen, WIFI_READ_TIMEOUT);
  if(ret!=WIFI_STATUS_OK) {
    printf("Error in receiving data: %d\n",ret);
    //err=1;
  } else {
    if(recvlen>0) {
      recvdata[recvlen]=0;
      printf("Received data: %s\n",recvdata);
      // Procesar los datos recibidos

      //Calculamos el numero

      num = 0;
      i = 0;
      while(recvdata[recvlen-i-2] != '[' && i<3){
    	  //printf("%c,%d\r\n",recvdata[recvlen-i-2],pow(10,i));
    	  num = num + pow(10,i)*(recvdata[recvlen-i-2]-48); //datos al final en formato [nnn],[nn]o[nn]
    	  i++;
      }
      printf("Numero=%d\r\n",num);
    }
  }
  WIFI_CloseClientConnection(SOCKET);
  osDelay(pdMS_TO_TICKS(5000));
  }
  return 0;
}

/* USER CODE END 4 */

void StartDefaultTask(void *argument)
{
  /* USER CODE BEGIN 5 */
  /* Infinite loop */
  for(;;)
  {
	//printf("Hola\r\n");
    osDelay(pdMS_TO_TICKS(1000));
  }
  /* USER CODE END 5 */
}

void wifiStartTask(void *argument)
{
  /* USER CODE BEGIN wifiStartTask */
	//wifi_connect();
	wifi_get_http();
  /* Infinite loop */
  for(;;)
  {
    osDelay(1);
  }
  /* USER CODE END wifiStartTask */
}

void HAL_TIM_PeriodElapsedCallback(TIM_HandleTypeDef *htim)
{
  if (htim->Instance == TIM6) {
    HAL_IncTick();
  }
}

void Error_Handler(void)
{
  __disable_irq();
  while (1)
  {
  }
}
